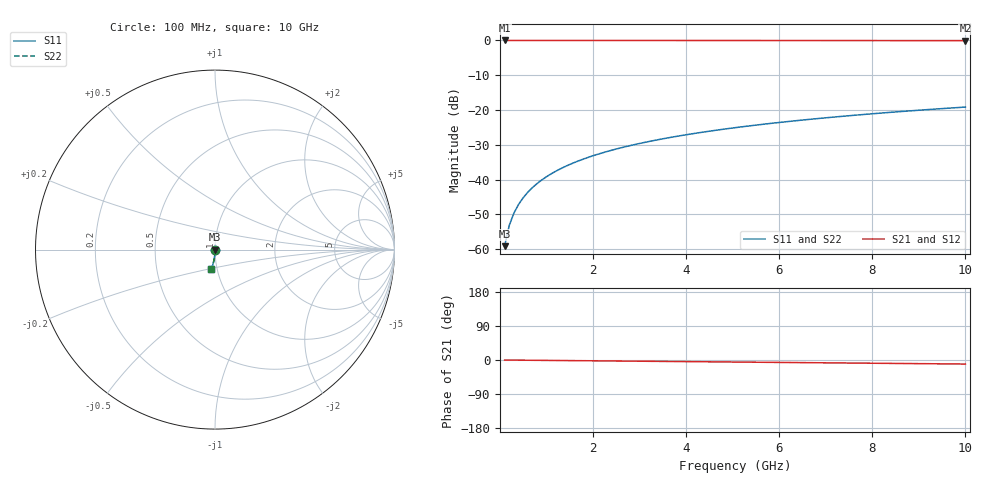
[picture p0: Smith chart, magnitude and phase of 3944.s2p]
# Hz S RI R 50.00
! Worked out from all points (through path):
!   100 points, 100 MHz to 10 GHz, reference 50 ohm
!   highest |S21| = 0.00 dB at 100 MHz (marker M1); lowest = -0.1 dB at 10 GHz (marker M2)
!   group delay of S21, straight-line fit = 2.96 ps
!   lowest |S11| = -59.1 dB at 100 MHz (marker M3), VSWR 1.00, Z = 50 - j0.11 ohm
!   |S11| at or under -10 dB: start of sweep to end of sweep
!   |S22| runs from -59.1 to -19.2 dB; largest |S21 - S12| = 0
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1e8  0.000105 -0.0011  0.9999 -0.00185  0.9999 -0.00185  0.000105 -0.0011
2e8  9.79e-05 -0.0022  0.9999 -0.00369  0.9999 -0.00369  9.79e-05 -0.0022
3e8  8.68e-05 -0.0033  0.9999 -0.00554  0.9999 -0.00554  8.68e-05 -0.0033
4e8  7.17e-05 -0.0044  0.9998 -0.00738  0.9998 -0.00738  7.17e-05 -0.0044
5e8  5.24e-05 -0.0055  0.9998 -0.00923  0.9998 -0.00923  5.24e-05 -0.0055
6e8  2.9e-05 -0.0066  0.9998 -0.0111  0.9998 -0.0111  2.9e-05 -0.0066
7e8  1.5e-06 -0.0077  0.9998 -0.0129  0.9998 -0.0129  1.5e-06 -0.0077
8e8  -3.01e-05 -0.0088  0.9997 -0.0148  0.9997 -0.0148  -3.01e-05 -0.0088
9e8  -6.58e-05 -0.0099  0.9997 -0.0166  0.9997 -0.0166  -6.58e-05 -0.0099
1.1e9  -0.000149 -0.0121  0.9996 -0.0203  0.9996 -0.0203  -0.000149 -0.0121
1.4e9  -0.000305 -0.0154  0.9994 -0.0258  0.9994 -0.0258  -0.000305 -0.0154
1.8e9  -0.000571 -0.0198  0.9991 -0.0332  0.9991 -0.0332  -0.000571 -0.0198
2.1e9  -0.000813 -0.0231  0.9988 -0.0388  0.9988 -0.0388  -0.000813 -0.0231
2.5e9  -0.00119 -0.0275  0.9984 -0.0462  0.9984 -0.0462  -0.00119 -0.0275
2.9e9  -0.00164 -0.0319  0.9979 -0.0536  0.9979 -0.0536  -0.00164 -0.0319
3.4e9  -0.00229 -0.0374  0.9972 -0.0628  0.9972 -0.0628  -0.00229 -0.0374
4.2e9  -0.00354 -0.0462  0.9957 -0.0776  0.9957 -0.0776  -0.00354 -0.0462
5.1e9  -0.00527 -0.056  0.9938 -0.0942  0.9938 -0.0942  -0.00527 -0.056
5.9e9  -0.00708 -0.0647  0.9917 -0.109  0.9917 -0.109  -0.00708 -0.0647
6.7e9  -0.00915 -0.0734  0.9893 -0.1237  0.9893 -0.1237  -0.00915 -0.0734
8.4e9  -0.0144 -0.0916  0.9833 -0.1549  0.9833 -0.1549  -0.0144 -0.0916
1e10  -0.0204 -0.1084  0.9765 -0.184  0.9765 -0.184  -0.0204 -0.1084
